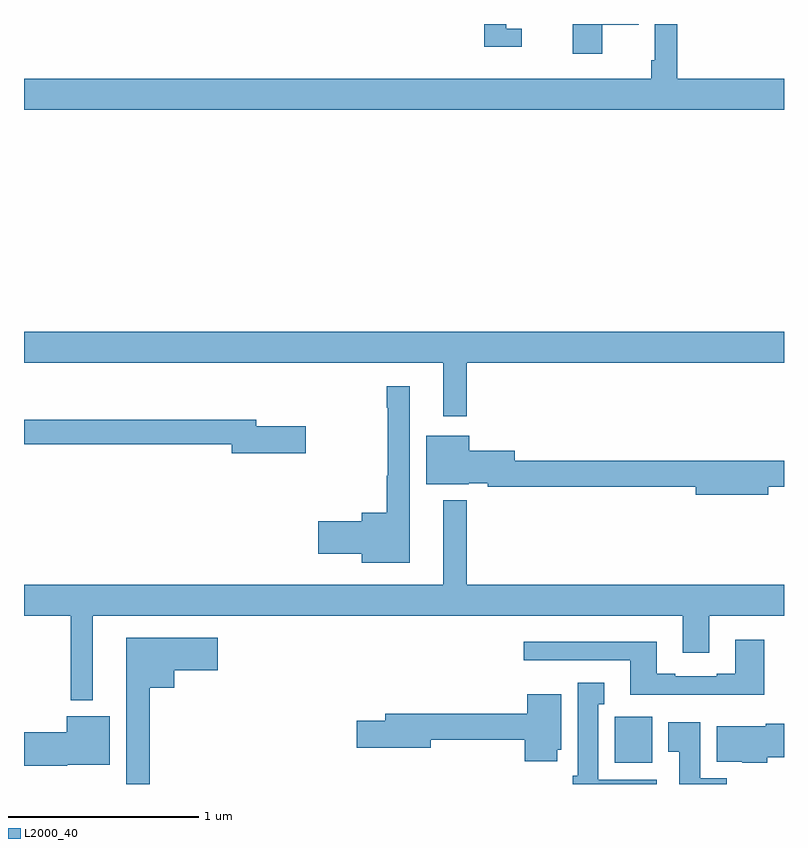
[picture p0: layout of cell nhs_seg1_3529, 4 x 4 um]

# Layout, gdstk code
import gdstk
lib = gdstk.Library(unit=1e-6, precision=1e-09)
def R(c, l, rs):  # rectangles x0, y0, x1, y1
    for r in rs: c.add(gdstk.rectangle(r[:2], r[2:], *l))
def P(c, l, *ps):  # polygons
    for p in ps: c.add(gdstk.Polygon(p, *l))
L2000_40 = (2000, 40)

nhs_seg1_3529 = lib.new_cell('nhs_seg1_3529')
R(nhs_seg1_3529, L2000_40, [(306.11,532.31,306.307,532.552)])
P(nhs_seg1_3529, L2000_40, [(307,535.912),(306.437,535.912),(306.437,536.199),(306.321,536.199),(306.321,536.008),(306.301,536.008),(306.301,535.912),(303,535.912),(303,535.748),(307,535.748)],
  [(305.62,536.175),(305.538,536.175),(305.538,536.199),(305.422,536.199),(305.422,536.078),(305.62,536.078)],
  [(306.043,536.195),(306.236,536.195),(306.236,536.199),(305.888,536.199),(305.888,536.043),(306.043,536.043)],
  [(305.329,534.416),(307,534.416),(307,534.58),(303,534.58),(303,534.416),(305.207,534.416),(305.207,534.135),(305.329,534.135)],
  [(305.029,534.292),(304.908,534.292),(304.908,534.179),(304.915,534.179),(304.915,533.822),(304.908,533.822),(304.908,533.626),(304.778,533.626),(304.778,533.582),(304.548,533.582),(304.548,533.411),(304.778,533.411),(304.778,533.363),(305.029,533.363)],
  [(304.483,534.081),(304.222,534.081),(304.222,534.115),(303,534.115),(303,533.986),(304.094,533.986),(304.094,533.939),(304.483,533.939)],
  [(306.916,533.764),(307,533.764),(307,533.9),(305.584,533.9),(305.584,533.953),(305.344,533.953),(305.344,534.031),(305.117,534.031),(305.117,533.777),(305.34,533.777),(305.34,533.783),(305.44,533.783),(305.44,533.764),(306.536,533.764),(306.536,533.722),(306.916,533.722)],
  [(303.361,533.084),(306.467,533.084),(306.467,532.89),(306.607,532.89),(306.607,533.084),(307,533.084),(307,533.248),(305.329,533.248),(305.329,533.692),(305.207,533.692),(305.207,533.248),(303,533.248),(303,533.084),(303.247,533.084),(303.247,532.64),(303.361,532.64)],
  [(303.661,532.706),(303.79,532.706),(303.79,532.799),(304.021,532.799),(304.021,532.969),(303.539,532.969),(303.539,532.199),(303.661,532.199)],
  [(306.896,532.957),(306.743,532.957),(306.743,532.78),(306.647,532.78),(306.647,532.767),(306.427,532.767),(306.427,532.78),(306.331,532.78),(306.331,532.948),(305.631,532.948),(305.631,532.851),(306.191,532.851),(306.191,532.67),(306.896,532.67)],
  [(306.331,532.222),(306.022,532.222),(306.022,532.619),(306.055,532.619),(306.055,532.732),(305.915,532.732),(305.915,532.242),(305.888,532.242),(305.888,532.199),(306.331,532.199)],
  [(305.806,532.38),(305.827,532.38),(305.827,532.672),(305.648,532.672),(305.648,532.568),(304.901,532.568),(304.901,532.532),(304.752,532.532),(304.752,532.39),(305.14,532.39),(305.14,532.432),(305.636,532.432),(305.636,532.32),(305.806,532.32)],
  [(303.228,532.301),(303.451,532.301),(303.451,532.555),(303.224,532.555),(303.224,532.472),(303,532.472),(303,532.294),(303.228,532.294)],
  [(306.698,532.228),(306.559,532.228),(306.559,532.525),(306.392,532.525),(306.392,532.369),(306.449,532.369),(306.449,532.199),(306.698,532.199)],
  [(306.911,532.339),(307,532.339),(307,532.517),(306.905,532.517),(306.905,532.504),(306.647,532.504),(306.647,532.316),(306.78,532.316),(306.78,532.31),(306.911,532.31)])

lib.write_gds('nhs_seg1_3529.gds')
